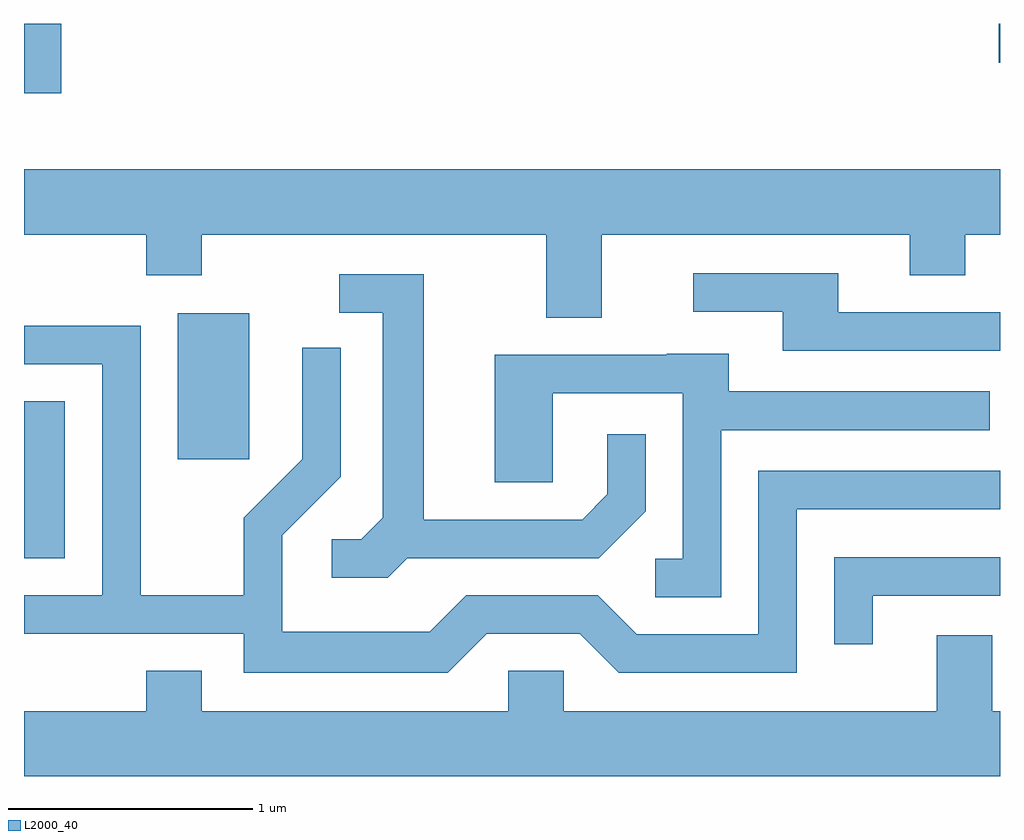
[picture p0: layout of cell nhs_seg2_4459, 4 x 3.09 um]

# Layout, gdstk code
import gdstk
lib = gdstk.Library(unit=1e-6, precision=1e-09)
def R(c, l, rs):  # rectangles x0, y0, x1, y1
    for r in rs: c.add(gdstk.rectangle(r[:2], r[2:], *l))
def P(c, l, *ps):  # polygons
    for p in ps: c.add(gdstk.Polygon(p, *l))
L2000_40 = (2000, 40)

nhs_seg2_4459 = lib.new_cell('nhs_seg2_4459')
R(nhs_seg2_4459, L2000_40, [(315.611,1093.611,315.779,1094.254), (316.241,1094.016,316.534,1094.614), (315.611,1095.516,315.764,1095.802), (319.606,1095.641,319.611,1095.802)])
P(nhs_seg2_4459, L2000_40, [(317.979,1094.936),(319.241,1094.936),(319.241,1094.771),(319.469,1094.771),(319.469,1094.936),(319.611,1094.936),(319.611,1095.204),(315.611,1095.204),(315.611,1094.936),(316.111,1094.936),(316.111,1094.771),(316.339,1094.771),(316.339,1094.936),(317.751,1094.936),(317.751,1094.596),(317.979,1094.596)],
  [(319.611,1094.619),(318.949,1094.619),(318.949,1094.779),(318.353,1094.779),(318.353,1094.621),(318.721,1094.621),(318.721,1094.461),(319.611,1094.461)],
  [(317.182,1093.611),(317.967,1093.611),(318.159,1093.804),(318.159,1094.118),(318.001,1094.118),(318.001,1093.872),(317.899,1093.769),(317.249,1093.769),(317.249,1094.774),(316.903,1094.774),(316.903,1094.616),(317.081,1094.616),(317.081,1093.777),(316.994,1093.689),(316.873,1093.689),(316.873,1093.531),(317.102,1093.531)],
  [(317.507,1093.301),(317.889,1093.301),(318.049,1093.141),(318.779,1093.141),(318.779,1093.811),(319.611,1093.811),(319.611,1093.969),(318.621,1093.969),(318.621,1093.299),(318.122,1093.299),(317.962,1093.459),(317.424,1093.459),(317.274,1093.309),(316.669,1093.309),(316.669,1093.704),(316.909,1093.944),(316.909,1094.473),(316.751,1094.473),(316.751,1094.017),(316.511,1093.777),(316.511,1093.459),(316.089,1093.459),(316.089,1094.564),(315.611,1094.564),(315.611,1094.406),(315.931,1094.406),(315.931,1093.459),(315.611,1093.459),(315.611,1093.301),(316.511,1093.301),(316.511,1093.141),(317.347,1093.141)],
  [(318.469,1094.136),(319.568,1094.136),(319.568,1094.294),(318.499,1094.294),(318.499,1094.449),(318.245,1094.449),(318.245,1094.444),(317.541,1094.444),(317.541,1093.921),(317.779,1093.921),(317.779,1094.286),(318.311,1094.286),(318.311,1093.609),(318.198,1093.609),(318.198,1093.451),(318.469,1093.451)],
  [(319.089,1093.456),(319.611,1093.456),(319.611,1093.614),(318.931,1093.614),(318.931,1093.258),(319.089,1093.258)],
  [(319.611,1092.984),(319.579,1092.984),(319.579,1093.294),(319.351,1093.294),(319.351,1092.984),(317.824,1092.984),(317.824,1093.149),(317.596,1093.149),(317.596,1092.984),(316.339,1092.984),(316.339,1093.149),(316.111,1093.149),(316.111,1092.984),(315.611,1092.984),(315.611,1092.716),(319.611,1092.716)])

lib.write_gds('nhs_seg2_4459.gds')
